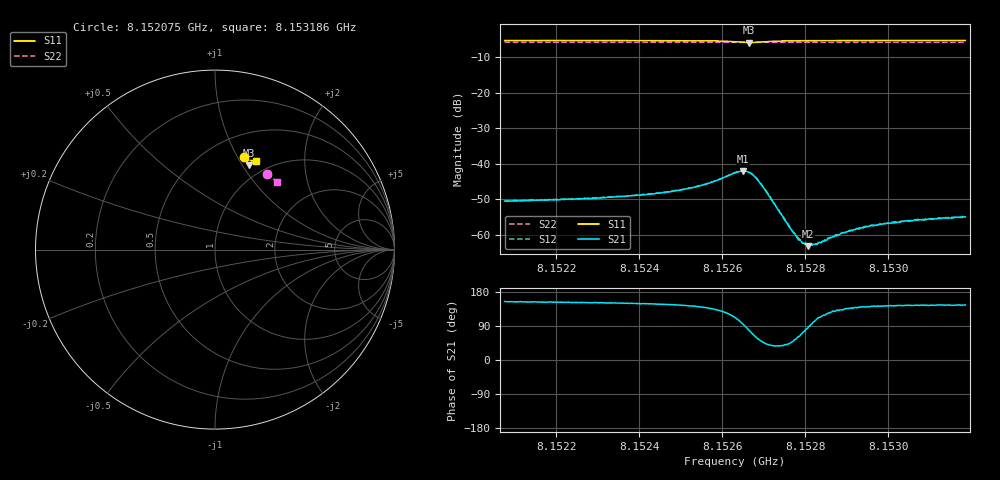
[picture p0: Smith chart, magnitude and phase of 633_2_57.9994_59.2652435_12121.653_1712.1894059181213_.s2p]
#  HZ  S  RI  R  50.00
! Rohde & Schwarz Vector Network Analyzer
! Rohde-Schwarz,ZNB20-2Port,1311601062101988,3.16
! Created: UTC 3/21/2024, 1:18:43 AM
! freq[Hz]  re:S11  im:S11  re:S21  im:S21  re:S12  im:S12  re:S22  im:S22
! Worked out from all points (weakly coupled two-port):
!   401 points, 8.152075 GHz to 8.153186 GHz, reference 50 ohm
!   highest |S21| = -41.98 dB at 8.15265 GHz (marker M1); lowest = -63.2 dB at 8.152805 GHz (marker M2)
!   lowest |S11| = -5.9 dB at 8.152664 GHz (marker M3), VSWR 3.05, Z = 42.2 + j53.3 ohm
!   |S11| at or under -10 dB: nowhere
!   |S22| runs from -5.9 to -5.8 dB; largest |S21 - S12| = 0.00015
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8.1520754e9  0.1624 0.5155  -0.0027 0.00129  -0.00268 0.00138  0.2903 0.4217
8.1522614e9  0.176 0.5112  -0.00284 0.00153  -0.00285 0.00158  0.3001 0.4146
8.1524474e9  0.1907 0.5052  -0.00327 0.00209  -0.00326 0.00212  0.3094 0.4072
8.1525445e9  0.2007 0.4988  -0.00374 0.00311  -0.00377 0.0032  0.3143 0.4031
8.1525806e9  0.2048 0.4934  -0.00394 0.00408  -0.0039 0.00415  0.3161 0.4015
8.1526306e9  0.2054 0.4774  -0.0028 0.00692  -0.00275 0.00702  0.3182 0.3991
8.15265e9  0.197 0.4701  -0.000632 0.00793  -0.000591 0.00796  0.3188 0.3979
8.1526639e9  0.1874 0.4698  0.00145 0.00743  0.00152 0.00752  0.3189 0.3977
8.1526778e9  0.1796 0.4754  0.00295 0.00594  0.00306 0.00596  0.3195 0.3975
8.1526916e9  0.1769 0.4834  0.00334 0.00414  0.00339 0.00418  0.3202 0.3973
8.1527666e9  0.1907 0.5001  0.000818 0.000865  0.000811 0.000835  0.3244 0.3948
8.1527805e9  0.193 0.5005  0.000471 0.000782  0.000517 0.000771  0.3252 0.3941
8.1527944e9  0.1952 0.5006  0.000218 0.000732  0.00022 0.000726  0.3259 0.3935
8.1528055e9  0.1968 0.5006  8.02e-05 0.000691  0.000104 0.000732  0.3265 0.3931
8.1528166e9  0.1982 0.5006  -8e-05 0.000742  -9.16e-05 0.000705  0.327 0.3926
8.1528388e9  0.2008 0.5002  -0.000343 0.000718  -0.000342 0.000702  0.3282 0.3917
8.1528776e9  0.205 0.4995  -0.000658 0.000737  -0.000678 0.000749  0.33 0.39
8.1529276e9  0.2094 0.4982  -0.000919 0.000789  -0.000919 0.000828  0.3324 0.3879
8.1529581e9  0.2121 0.4974  -0.00106 0.000838  -0.00104 0.0009  0.3339 0.3867
8.1530025e9  0.2156 0.4962  -0.00116 0.000876  -0.00117 0.000888  0.336 0.3847
8.1530692e9  0.2207 0.4945  -0.00131 0.000935  -0.00131 0.001  0.3393 0.3818
8.1531857e9  0.2287 0.4911  -0.00148 0.00102  -0.00147 0.00107  0.3447 0.3768
